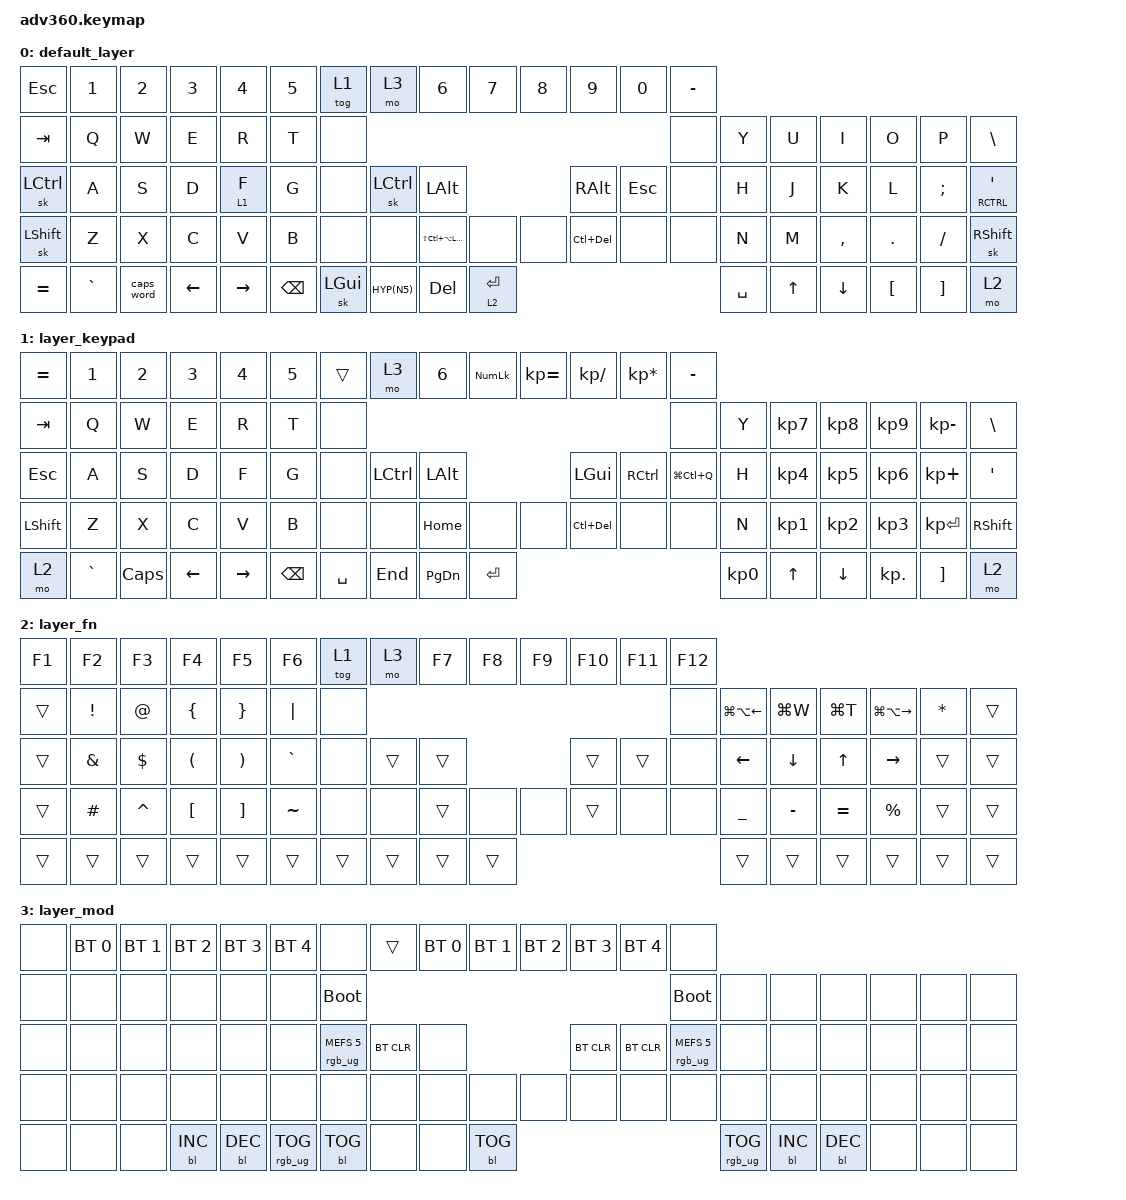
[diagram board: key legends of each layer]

/*
 * Copyright (c) 2020 The ZMK Contributors
 *
 * SPDX-License-Identifier: MIT
 */


/* THIS FILE WAS GENERATED!
 *
 * This file was generated automatically. You may or may not want to
 * edit it directly.
 */

#include <behaviors.dtsi>
#include <dt-bindings/zmk/keys.h>
#include <dt-bindings/zmk/bt.h>
#include <dt-bindings/zmk/rgb.h>
#include <dt-bindings/zmk/backlight.h>

#define HYP(key) LS(LC(LA(LG(key))))
#define HYPER    LS(LC(LA(LGUI)))

#define MACLOCK  LG(LC(Q))

#define BROWSER_SEARCH LG(F)
#define BROWSER_NEWTAB LG(T)
#define BROWSER_CLOSETTAB LG(W)
#define BROWSER_NEXTTAB LG(LA(RIGHT))
#define BROWSER_PREVTAB LG(LA(LEFT))

&mt {
    tapping-term-ms = <210>;
    flavor = "tap-preferred";
};

&lt {
    flavor = "balanced";
    tapping-term-ms = <200>;
    quick-tap-ms = <200>;
};

&caps_word {
    continue-list = <UNDERSCORE MINU BSPC>;
};

/ {
  behaviors {
    #include "macros.dtsi"

    hm: homerow_mods {
        compatible = "zmk,behavior-hold-tap";
        label = "HOMEROW_MODS";
        #binding-cells = <2>;
        tapping-term-ms = <200>;
        quick_tap_ms = <175>;
        flavor = "tap-preferred";
        bindings = <&kp>, <&kp>;
    };
  };

  combos {
    compatible = "zmk,combos";

    combo_lctrl {
      timeout-ms = <35>;
      key-positions = <32 31>;
      bindings = <&kp LCTRL>;
    };

    combo_lalt {
      timeout-ms = <35>;
      key-positions = <32 30>;
      bindings = <&kp LALT>;
    };

    combo_lgui {
      timeout-ms = <35>;
      key-positions = <32 29>;
      bindings = <&kp LGUI>;
    };

    combo_rctrl {
      timeout-ms = <35>;
      key-positions = <41 42>;
      bindings = <&kp RCTRL>;
    };

    combo_ralt {
      timeout-ms = <36>;
      key-positions = <41 43>;
      bindings = <&kp RALT>;
    };

    combo_rgui {
      timeout-ms = <35>;
      key-positions = <41 44>;
      bindings = <&kp RGUI>;
    };

  };

    keymap {
        compatible = "zmk,keymap";


        default_layer {
            bindings = <
 &kp ESC     &kp N1    &kp N2    &kp N3     &kp N4    &kp N5                      &tog 1      &mo 3     &kp N6     &kp N7     &kp N8     &kp N9     &kp N0  &kp MINUS
   &kp TAB      &kp Q     &kp W     &kp E      &kp R     &kp T                       &none      &none      &kp Y      &kp U      &kp I      &kp O      &kp P   &kp BSLH
   &sk LCTRL    &kp A      &kp S  &kp D  &lt 1 F  &kp G                       &none  &sk LCTRL  &kp LALT                         &kp RALT  &kp ESC      &none     &kp H   &kp J &kp K &kp L  &kp SEMI    &lt RCTRL SQT
 &sk LSHFT      &kp Z     &kp X     &kp C      &kp V     &kp B                       &none      &none   &kp HYPER      &none      &none  &kp LC(DELETE)      &none      &none     &kp N   &kp M  &kp COMMA  &kp DOT  &kp FSLH  &sk RSHFT
     &kp EQUAL  &kp GRAVE  &caps_word  &kp LEFT  &kp RIGHT  &kp BSPC            &sk LGUI    &kp HYP(N5)  &kp DELETE  &lt 2 ENTER  &kp SPACE     &kp UP   &kp DOWN   &kp LBKT  &kp RBKT   &mo 2
            >;
        };

        layer_keypad {
            bindings = <
 &kp EQUAL     &kp N1    &kp N2    &kp N3     &kp N4    &kp N5    &trans      &mo 3     &kp N6  &kp KP_NUM  &kp KP_EQUAL  &kp KP_DIVIDE  &kp KP_MULTIPLY   &kp MINUS
   &kp TAB      &kp Q     &kp W     &kp E      &kp R     &kp T     &none      &none      &kp Y   &kp KP_N7     &kp KP_N8      &kp KP_N9     &kp KP_MINUS    &kp BSLH
   &kp ESC      &kp A     &kp S     &kp D      &kp F     &kp G     &none  &kp LCTRL   &kp LALT                                 &kp LGUI        &kp RCTRL       &kp MACLOCK     &kp H  &kp KP_N4  &kp KP_N5  &kp KP_N6   &kp KP_PLUS    &kp SQT
 &kp LSHFT      &kp Z     &kp X     &kp C      &kp V     &kp B     &none      &none   &kp HOME       &none         &none      &kp LC(DELETE)           &none       &none     &kp N  &kp KP_N1  &kp KP_N2  &kp KP_N3  &kp KP_ENTER  &kp RSHFT
     &mo 2  &kp GRAVE  &kp CAPS  &kp LEFT  &kp RIGHT  &kp BSPC   &kp SPACE    &kp END  &kp PG_DN   &kp ENTER     &kp KP_N0         &kp UP         &kp DOWN  &kp KP_DOT  &kp RBKT      &mo 2
            >;
        };

        layer_fn {
            bindings = <
 &kp F1  &kp F2    &kp F3     &kp F4    &kp F5    &kp F6     &tog 1   &mo 3   &kp F7  &kp F8  &kp F9  &kp F10  &kp F11  &kp F12
 &trans  &kp EXCL  &kp AT     &kp LBRC  &kp RBRC  &kp PIPE   &none        	                                        &none  &kp BROWSER_PREVTAB &kp BROWSER_CLOSETTAB  &kp BROWSER_NEWTAB  &kp BROWSER_NEXTTAB  &kp ASTERISK  &trans
 &trans  &kp AMPS  &kp DOLLAR &kp LPAR  &kp RPAR  &kp GRAVE  &none    &trans  &trans                  &trans   &trans   &none  &kp LEFT            &kp DOWN               &kp UP              &kp RIGHT            &trans        &trans
 &trans  &kp HASH  &kp CARET  &kp LBKT  &kp RBKT  &kp TILDE  &none    &none   &trans  &none   &none   &trans   &none    &none  &kp UNDER           &kp MINUS              &kp EQUAL           &kp PERCENT          &trans        &trans
 &trans  &trans    &trans     &trans    &trans    &trans     &trans   &trans  &trans  &trans                                   &trans              &trans                 &trans              &trans               &trans        &trans
            >;
        };

        layer_mod {
            bindings = <
  &none  &bt BT_SEL 0  &bt BT_SEL 1  &bt BT_SEL 2  &bt BT_SEL 3     &bt BT_SEL 4                             &none       &trans  &bt BT_SEL 0  &bt BT_SEL 1     &bt BT_SEL 2  &bt BT_SEL 3  &bt BT_SEL 4                   &none
  &none         &none         &none         &none         &none            &none                       &bootloader  &bootloader         &none         &none            &none         &none         &none                   &none
  &none         &none         &none         &none         &none            &none            &rgb_ug RGB_MEFS_CMD 5   &bt BT_CLR         &none                                   &bt BT_CLR    &bt BT_CLR  &rgb_ug RGB_MEFS_CMD 5   &none   &none   &none   &none   &none   &none
  &none         &none         &none         &none         &none            &none                             &none        &none         &none         &none            &none         &none         &none                   &none   &none   &none   &none   &none   &none   &none
  &none         &none         &none    &bl BL_INC    &bl BL_DEC  &rgb_ug RGB_TOG                        &bl BL_TOG        &none         &none    &bl BL_TOG  &rgb_ug RGB_TOG    &bl BL_INC    &bl BL_DEC                   &none   &none   &none
            >;
        };

    };
};
